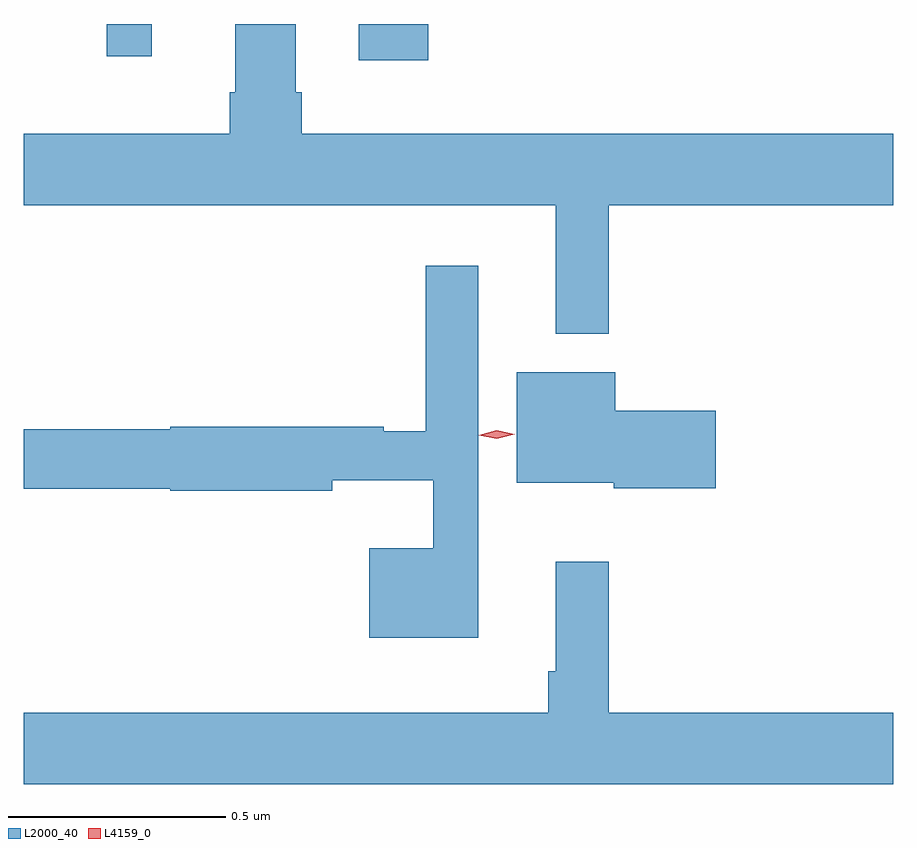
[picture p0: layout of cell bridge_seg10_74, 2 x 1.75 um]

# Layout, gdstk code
import gdstk
lib = gdstk.Library(unit=1e-6, precision=1e-09)
def R(c, l, rs):  # rectangles x0, y0, x1, y1
    for r in rs: c.add(gdstk.rectangle(r[:2], r[2:], *l))
def P(c, l, *ps):  # polygons
    for p in ps: c.add(gdstk.Polygon(p, *l))
L2000_40 = (2000, 40)
L4159_0 = (4159, 0)

bridge_seg10_74 = lib.new_cell('bridge_seg10_74')
R(bridge_seg10_74, L2000_40, [(694.142,1293.99,694.301,1294.073), (693.562,1293.999,693.665,1294.073)])
P(bridge_seg10_74, L2000_40, [(694.717,1293.656),(695.371,1293.656),(695.371,1293.82),(694.01,1293.82),(694.01,1293.916),(693.997,1293.916),(693.997,1294.073),(693.857,1294.073),(693.857,1293.916),(693.845,1293.916),(693.845,1293.82),(693.371,1293.82),(693.371,1293.656),(694.595,1293.656),(694.595,1293.36),(694.717,1293.36)],
  [(694.417,1293.517),(694.296,1293.517),(694.296,1293.136),(694.199,1293.136),(694.199,1293.146),(693.708,1293.146),(693.708,1293.14),(693.371,1293.14),(693.371,1293.004),(693.708,1293.004),(693.708,1292.999),(694.08,1292.999),(694.08,1293.023),(694.313,1293.023),(694.313,1292.866),(694.166,1292.866),(694.166,1292.66),(694.417,1292.66)],
  [(694.963,1293.183),(694.732,1293.183),(694.732,1293.271),(694.505,1293.271),(694.505,1293.017),(694.728,1293.017),(694.728,1293.005),(694.963,1293.005)],
  [(695.371,1292.488),(694.717,1292.488),(694.717,1292.836),(694.595,1292.836),(694.595,1292.584),(694.578,1292.584),(694.578,1292.488),(693.371,1292.488),(693.371,1292.324),(695.371,1292.324)])
P(bridge_seg10_74, L4159_0, [(694.459,1293.118),(694.418,1293.127),(694.418,1293.127),(694.418,1293.127),(694.459,1293.138),(694.5,1293.129),(694.5,1293.129),(694.5,1293.129)])

lib.write_gds('bridge_seg10_74.gds')
